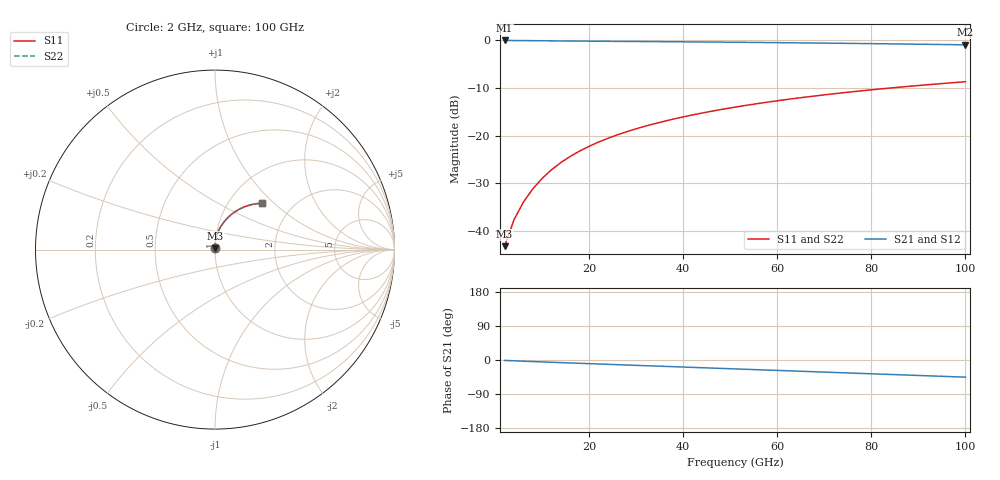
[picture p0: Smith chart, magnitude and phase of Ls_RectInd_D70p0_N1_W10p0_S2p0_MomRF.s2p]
! Created Thu Oct  1 20:35:19 2026
! List of port names and net name(s): example Port n = <port_name> <net_name1> <net_name2> ...
! Port 1 = P1 P1
! Port 2 = P2 P1
# hz S ma R 50
! Port[1]
! Port[2]
! 2 Port Network Data from data block
! freq  magS11  angS11  magS21  angS21  magS12  angS12  magS22  angS22
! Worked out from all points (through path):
!   50 points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, 2 GHz to 100 GHz, reference 50 ohm
!   highest |S21| = -0.03 dB at 2 GHz (marker M1); lowest = -0.9 dB at 100 GHz (marker M2)
!   group delay of S21, straight-line fit = 1.24 ps
!   lowest |S11| = -43.2 dB at 2 GHz (marker M3), VSWR 1.01, Z = 50.3 + j0.641 ohm
!   |S11| at or under -10 dB: start of sweep to 84.04 GHz
!   |S22| runs from -43.2 to -8.7 dB; largest |S21 - S12| = 0
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2e9  0.006951 66.5  0.9965 -1.1  0.9965 -1.1  0.00695 66.4
4e9  0.01315 79.6  0.9949 -2.1  0.9949 -2.1  0.01315 79.6
6e9  0.02013 84.8  0.9929 -3.2  0.9929 -3.2  0.02013 84.8
8e9  0.02774 87.0  0.9907 -4.1  0.9907 -4.1  0.02773 87.0
1e10  0.03578 87.6  0.9886 -5.1  0.9886 -5.1  0.03577 87.5
1.2e10  0.04405 87.3  0.9866 -6.0  0.9866 -6.0  0.04404 87.3
1.4e10  0.05244 86.6  0.9847 -6.9  0.9847 -6.9  0.05243 86.6
1.6e10  0.06085 85.6  0.983 -7.8  0.983 -7.8  0.06084 85.6
1.8e10  0.06924 84.6  0.9813 -8.8  0.9813 -8.8  0.06922 84.5
2e10  0.07758 83.4  0.9797 -9.7  0.9797 -9.7  0.07755 83.4
2.4e10  0.09406 81.1  0.9765 -11.4  0.9765 -11.4  0.09403 81.1
2.8e10  0.1103 78.9  0.9734 -13.2  0.9734 -13.2  0.1102 78.8
3.2e10  0.1263 76.7  0.9703 -15.0  0.9703 -15.0  0.1262 76.7
3.6e10  0.142 74.6  0.9672 -16.8  0.9672 -16.8  0.1419 74.5
4e10  0.1575 72.6  0.9639 -18.6  0.9639 -18.6  0.1575 72.5
4.4e10  0.1729 70.6  0.9604 -20.4  0.9604 -20.4  0.1728 70.5
5.2e10  0.203 66.7  0.9532 -23.9  0.9532 -23.9  0.2029 66.6
6e10  0.2324 62.9  0.9453 -27.5  0.9453 -27.5  0.2323 62.8
6.8e10  0.261 59.2  0.9367 -31.1  0.9367 -31.1  0.261 59.0
7.6e10  0.289 55.5  0.9276 -34.6  0.9276 -34.6  0.2889 55.4
8.4e10  0.3161 51.9  0.9179 -38.2  0.9179 -38.2  0.316 51.7
1e11  0.3678 44.7  0.8969 -45.3  0.8969 -45.3  0.3677 44.5
